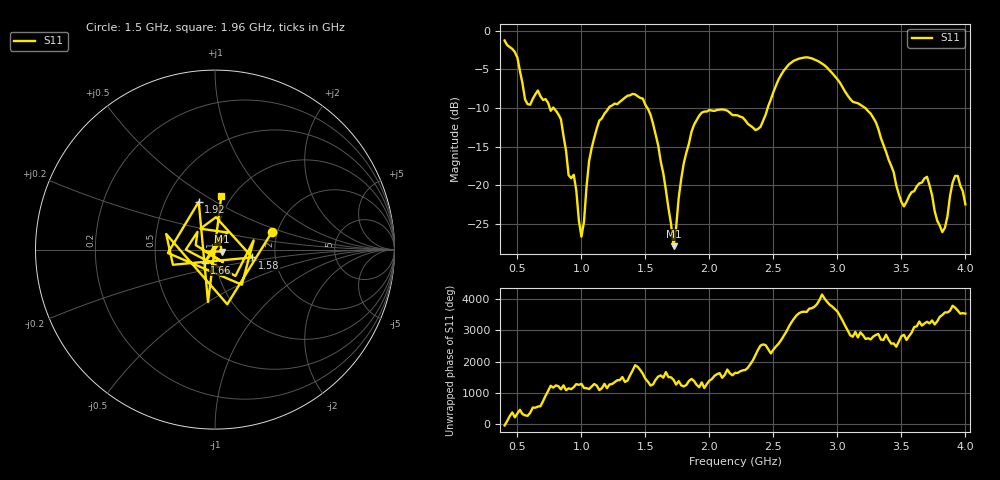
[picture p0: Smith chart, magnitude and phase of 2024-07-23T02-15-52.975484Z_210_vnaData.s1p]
!Created with skrf (http://scikit-rf.org).
# Hz S RI R 50.0
!freq ReS11 ImS11
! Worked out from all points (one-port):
!   181 points, 400 MHz to 4 GHz, reference 50 ohm
!   lowest |S11| = -27.9 dB at 1.72 GHz (marker M1), VSWR 1.08, Z = 54 - j1.18 ohm
!   |S11| at or under -10 dB: 782.7 MHz to 1.214 GHz (430.9 MHz wide, 43.2 % of centre); 1.515 GHz to 2.455 GHz (939.9 MHz wide, 47.3 % of centre); 3.216 GHz to end of sweep (the widest 3 of 4)
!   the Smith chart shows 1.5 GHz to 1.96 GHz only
!   S11 on the Smith chart (normalised r, x): 1.5 GHz: 1.87, +0.41; 1.58 GHz: 1.52, -0.14; 1.66 GHz: 0.88, -0.13; 1.92 GHz: 0.73, +0.42; 1.96 GHz: 0.89, +0.58
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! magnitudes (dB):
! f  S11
! 400 MHz  -1.3
! 580 MHz  -9.5
! 660 MHz  -7.7
! 860 MHz  -13.6
! 900 MHz  -18.7
! 940 MHz  -18.7
! 1 GHz  -26.7
! 1.06 GHz  -16.9
! 1.12 GHz  -12.7
! 1.3 GHz  -9.2
! 1.5 GHz  -9.6
! 1.58 GHz  -13.4
! 1.66 GHz  -20.6
! 1.72 GHz  -27.9
! 1.76 GHz  -21.7
! 1.92 GHz  -11.0
! 1.96 GHz  -10.5
! 2.2 GHz  -10.9
! 2.4 GHz  -12.4
! 2.66 GHz  -3.9
! 3.1 GHz  -8.8
! 3.28 GHz  -11.3
! 3.5 GHz  -22.2
! 3.56 GHz  -21.4
! 3.7 GHz  -18.9
! 3.82 GHz  -26.1
! 3.92 GHz  -18.8
! 4 GHz  -22.5
